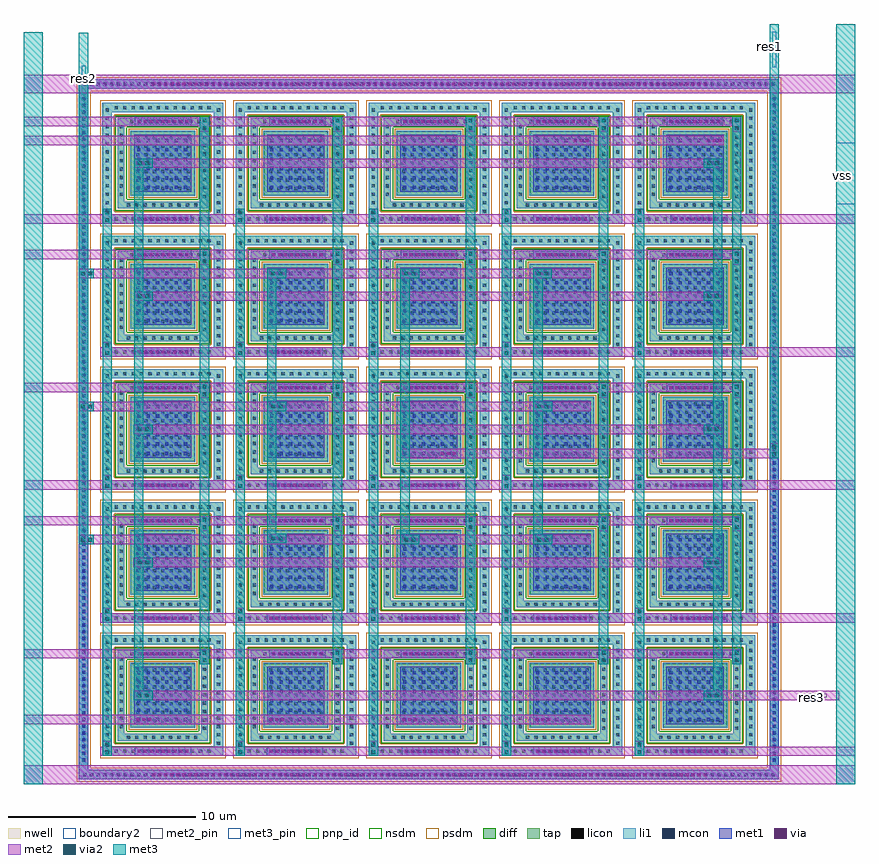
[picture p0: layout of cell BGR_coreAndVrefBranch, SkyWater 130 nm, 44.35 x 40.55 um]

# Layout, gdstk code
from math import pi, radians
import gdstk
lib = gdstk.Library(unit=1e-6, precision=5e-09)
def R(c, l, rs):  # rectangles x0, y0, x1, y1
    for r in rs: c.add(gdstk.rectangle(r[:2], r[2:], *l))
def A(c, l, x, y, w, h, nx, ny, dx, dy):  # array of equal rectangles
    R(c, l, [(x+i*dx, y+j*dy, x+i*dx+w, y+j*dy+h) for i in range(nx) for j in range(ny)])
def P(c, l, *ps):  # polygons
    for p in ps: c.add(gdstk.Polygon(p, *l))
nwell = (64, 20)
diff = (65, 20)
tap = (65, 44)
licon = (66, 44)
li1 = (67, 20)
mcon = (67, 44)
met1 = (68, 20)
via = (68, 44)
met2_pin = (69, 16)
met2 = (69, 20)
via2 = (69, 44)
met3_pin = (70, 16)
met3 = (70, 20)
pnp_id = (82, 44)
nsdm = (93, 44)
psdm = (94, 20)
boundary2 = (236, 0)

vias_gen = lib.new_cell('vias_gen')
R(vias_gen, met1, [(0,0,30,0.5)])
A(vias_gen, via, 0.205, 0.175, 0.15, 0.15, 93, 1, 0.32, 0)
R(vias_gen, met2, [(0,0,30,0.5)])

pnp_bjt = lib.new_cell('pnp_bjt')
R(pnp_bjt, nwell, [(0.765,0.765,5.935,5.935)])
R(pnp_bjt, diff, [(1.65,1.65,5.05,5.05)])
P(pnp_bjt, tap, [(0.945,0.945),(0.945,5.755),(5.395,5.755),(5.395,5.395),(1.305,5.395),(1.305,1.305),(5.395,1.305),(5.395,5.755),(5.755,5.755),(5.755,0.945)],
  [(0.13,0.13),(0.13,6.57),(6.065,6.57),(6.065,6.065),(0.635,6.065),(0.635,0.635),(6.065,0.635),(6.065,6.57),(6.57,6.57),(6.57,0.13)])
A(pnp_bjt, licon, 0.78, 0.29, 0.17, 0.17, 12, 2, 0.45, 5.935)
A(pnp_bjt, licon, 0.3, 0.71, 0.17, 0.17, 1, 13, 0, 0.45)
A(pnp_bjt, licon, 6.235, 0.71, 0.17, 0.17, 1, 13, 0, 0.45)
A(pnp_bjt, licon, 1.43, 1.04, 0.17, 0.17, 9, 1, 0.45, 0)
A(pnp_bjt, licon, 5.49, 1.51, 0.17, 0.17, 1, 9, 0, 0.45)
A(pnp_bjt, licon, 1.04, 1.605, 0.17, 0.17, 1, 9, 0, 0.45)
A(pnp_bjt, licon, 1.92, 1.92, 0.17, 0.17, 7, 7, 0.45, 0.45)
A(pnp_bjt, licon, 1.6, 5.49, 0.17, 0.17, 9, 1, 0.45, 0)
A(pnp_bjt, li1, 0.58, 0.21, 0.33, 0.33, 12, 1, 0.45, 0)
A(pnp_bjt, li1, 0.675, 0.24, 0.27, 0.27, 11, 2, 0.5, 5.96)
A(pnp_bjt, li1, 6.16, 0.54, 0.33, 0.33, 1, 13, 0, 0.45)
A(pnp_bjt, li1, 0.22, 0.63, 0.33, 0.33, 1, 13, 0, 0.45)
A(pnp_bjt, li1, 1.35, 0.96, 0.33, 0.33, 9, 1, 0.45, 0)
A(pnp_bjt, li1, 1.14, 0.985, 0.27, 0.27, 9, 1, 0.5, 0)
A(pnp_bjt, li1, 5.41, 1.43, 0.33, 0.33, 1, 9, 0, 0.45)
A(pnp_bjt, li1, 0.96, 1.525, 0.33, 0.33, 1, 9, 0, 0.45)
A(pnp_bjt, li1, 1.84, 1.84, 0.33, 0.33, 7, 7, 0.45, 0.45)
A(pnp_bjt, li1, 1.93, 1.93, 0.27, 0.27, 6, 6, 0.5, 0.5)
A(pnp_bjt, li1, 1.52, 5.41, 0.33, 0.33, 9, 1, 0.45, 0)
A(pnp_bjt, li1, 1.155, 5.44, 0.27, 0.27, 9, 1, 0.5, 0)
A(pnp_bjt, li1, 0.7, 6.165, 0.33, 0.33, 12, 1, 0.45, 0)
R(pnp_bjt, li1, [(1.615,1.615,5.085,5.085), (1.65,1.65,5.05,5.05)])
P(pnp_bjt, li1, [(0.13,0.13),(0.13,6.57),(6.075,6.57),(6.075,6.075),(0.625,6.075),(0.625,0.625),(6.075,0.625),(6.075,6.57),(6.57,6.57),(6.57,0.13)],
  [(0.945,0.945),(0.945,5.755),(5.395,5.755),(5.395,5.395),(1.305,5.395),(1.305,1.305),(5.395,1.305),(5.395,5.755),(5.755,5.755),(5.755,0.945)])
A(pnp_bjt, mcon, 1.98, 1.98, 0.17, 0.17, 6, 6, 0.5, 0.5)
A(pnp_bjt, met1, 1.93, 1.93, 0.27, 0.27, 6, 6, 0.5, 0.5)
R(pnp_bjt, met1, [(1.825,1.825,4.875,4.875)])
R(pnp_bjt, pnp_id, [(0.135,0.135,6.565,6.565)])
P(pnp_bjt, nsdm, [(0.805,0.805),(0.805,5.895),(5.265,5.895),(5.265,5.265),(1.435,5.265),(1.435,1.435),(5.265,1.435),(5.265,5.895),(5.895,5.895),(5.895,0.805)])
R(pnp_bjt, psdm, [(1.52,1.52,5.18,5.18)])
P(pnp_bjt, psdm, [(0,0),(0,6.7),(5.935,6.7),(5.935,5.935),(0.765,5.935),(0.765,0.765),(5.935,0.765),(5.935,6.7),(6.7,6.7),(6.7,0)])
R(pnp_bjt, boundary2, [(0.13,0.13,6.57,6.57)])
pnp_bjt.add(gdstk.Label('Emitter', (3.39,3.39), layer=67, texttype=5))
pnp_bjt.add(gdstk.Label('Collector', (3.32,6.38), layer=67, texttype=5))
pnp_bjt.add(gdstk.Label('Base', (3.245,5.61), layer=67, texttype=5))

guard_ring_gen = lib.new_cell('guard_ring_gen')
P(guard_ring_gen, tap, [(-0.5,-0.5),(-0.5,36.35),(0,36.35),(0,0),(36.35,0),(36.35,36.35),(-0.5,36.35),(-0.5,36.85),(36.85,36.85),(36.85,-0.5)])
A(guard_ring_gen, licon, -0.27, -0.335, 0.17, 0.17, 103, 2, 0.36, 36.85)
A(guard_ring_gen, licon, -0.335, 0.45, 0.17, 0.17, 1, 99, 0, 0.36)
A(guard_ring_gen, licon, 36.515, 0.45, 0.17, 0.17, 1, 99, 0, 0.36)
P(guard_ring_gen, li1, [(-0.5,-0.5),(-0.5,36.35),(0,36.35),(0,0),(36.35,0),(36.35,36.35),(-0.5,36.35),(-0.5,36.85),(36.85,36.85),(36.85,-0.5)])
A(guard_ring_gen, mcon, -0.27, -0.335, 0.17, 0.17, 103, 2, 0.36, 36.85)
A(guard_ring_gen, mcon, -0.335, 0.45, 0.17, 0.17, 1, 99, 0, 0.36)
A(guard_ring_gen, mcon, 36.515, 0.45, 0.17, 0.17, 1, 99, 0, 0.36)
P(guard_ring_gen, met1, [(-0.5,-0.5),(-0.5,36.35),(0,36.35),(0,0),(36.35,0),(36.35,36.35),(-0.5,36.35),(-0.5,36.85),(36.85,36.85),(36.85,-0.5)])
P(guard_ring_gen, psdm, [(-0.625,-0.625),(-0.625,36.225),(0.125,36.225),(0.125,0.125),(36.225,0.125),(36.225,36.225),(-0.625,36.225),(-0.625,36.975),(36.975,36.975),(36.975,-0.625)])

vias_gen_10 = lib.new_cell('vias_gen$10')
R(vias_gen_10, li1, [(0,0,3,0.5)])
A(vias_gen_10, mcon, 0.155, 0.165, 0.17, 0.17, 8, 1, 0.36, 0)
R(vias_gen_10, met1, [(0,0,3,0.5)])
A(vias_gen_10, via, 0.145, 0.175, 0.15, 0.15, 9, 1, 0.32, 0)
R(vias_gen_10, met2, [(0,0,3,0.5)])

vias_gen_8 = lib.new_cell('vias_gen$8')
R(vias_gen_8, met1, [(0,0,1,0.5)])
A(vias_gen_8, via, 0.105, 0.175, 0.15, 0.15, 3, 1, 0.32, 0)
R(vias_gen_8, met2, [(0,0,1,0.5)])
R(vias_gen_8, via2, [(0.2,0.15,0.4,0.35), (0.6,0.15,0.8,0.35)])
R(vias_gen_8, met3, [(0,0,1,0.5)])

vias_gen_6 = lib.new_cell('vias_gen$6')
R(vias_gen_6, met2, [(0,0,0.8,0.5)])
R(vias_gen_6, via2, [(0.1,0.15,0.3,0.35), (0.5,0.15,0.7,0.35)])
R(vias_gen_6, met3, [(0,0,0.8,0.5)])

vias_gen_1 = lib.new_cell('vias_gen$1')
R(vias_gen_1, met1, [(0,0,1,0.5)])
A(vias_gen_1, via, 0.105, 0.175, 0.15, 0.15, 3, 1, 0.32, 0)
R(vias_gen_1, met2, [(0,0,1,0.5)])

vias_gen_9 = lib.new_cell('vias_gen$9')
R(vias_gen_9, met2, [(0,0,1,0.5)])
R(vias_gen_9, via2, [(0.2,0.15,0.4,0.35), (0.6,0.15,0.8,0.35)])
R(vias_gen_9, met3, [(0,0,1,0.5)])

bgr_coreandvrefbranch = lib.new_cell('BGR_coreAndVrefBranch')
R(bgr_coreandvrefbranch, met3_pin, [(43.35,30.94,44.35,34.22)])
bgr_coreandvrefbranch.add(gdstk.FlexPath([(44.35,37.35),(0,37.35)], 1, ends="flush", simple_path=True, layer=69, datatype=20))  # met2
bgr_coreandvrefbranch.add(gdstk.FlexPath([(0,30.15),(44.35,30.15)], 0.5, ends="flush", simple_path=True, layer=69, datatype=20))  # met2
bgr_coreandvrefbranch.add(gdstk.FlexPath([(0,15.95),(44.35,15.95)], 0.5, ends="flush", simple_path=True, layer=69, datatype=20))  # met2
bgr_coreandvrefbranch.add(gdstk.FlexPath([(4.06,23.05),(44.35,23.05)], 0.5, ends="flush", simple_path=True, layer=69, datatype=20))  # met2
bgr_coreandvrefbranch.add(gdstk.FlexPath([(4.06,8.85),(44.35,8.85)], 0.5, ends="flush", simple_path=True, layer=69, datatype=20))  # met2
bgr_coreandvrefbranch.add(gdstk.FlexPath([(4.06,1.75),(44.35,1.75)], 0.5, ends="flush", simple_path=True, layer=69, datatype=20))  # met2
bgr_coreandvrefbranch.add(gdstk.FlexPath([(44.35,0.5),(0,0.5)], 1, ends="flush", simple_path=True, layer=69, datatype=20))  # met2
bgr_coreandvrefbranch.add(gdstk.FlexPath([(0,6.95),(38.215,6.95)], 0.5, ends="flush", simple_path=True, layer=69, datatype=20))  # met2
bgr_coreandvrefbranch.add(gdstk.FlexPath([(0,14.05),(38.215,14.05)], 0.5, ends="flush", simple_path=True, layer=69, datatype=20))  # met2
bgr_coreandvrefbranch.add(gdstk.FlexPath([(0,21.15),(38.215,21.15)], 0.5, ends="flush", simple_path=True, layer=69, datatype=20))  # met2
bgr_coreandvrefbranch.add(gdstk.FlexPath([(0,28.25),(38.215,28.25)], 0.5, ends="flush", simple_path=True, layer=69, datatype=20))  # met2
bgr_coreandvrefbranch.add(gdstk.FlexPath([(0,35.35),(38.215,35.35)], 0.5, ends="flush", simple_path=True, layer=69, datatype=20))  # met2
bgr_coreandvrefbranch.add(gdstk.FlexPath([(30.235,3.44),(0,3.44)], 0.5, ends="flush", simple_path=True, layer=69, datatype=20))  # met2
bgr_coreandvrefbranch.add(gdstk.FlexPath([(0,34.34),(37.335,34.34)], 0.5, ends="flush", simple_path=True, layer=69, datatype=20))  # met2
bgr_coreandvrefbranch.add(gdstk.FlexPath([(43.515,4.725),(5.87,4.725)], 0.5, ends="flush", simple_path=True, layer=69, datatype=20))  # met2
bgr_coreandvrefbranch.add(gdstk.FlexPath([(30.235,13.04),(2.935,13.04)], 0.5, ends="flush", simple_path=True, layer=69, datatype=20))  # met2
bgr_coreandvrefbranch.add(gdstk.FlexPath([(30.235,20.14),(2.935,20.14)], 0.5, ends="flush", simple_path=True, layer=69, datatype=20))  # met2
bgr_coreandvrefbranch.add(gdstk.FlexPath([(30.235,27.24),(2.935,27.24)], 0.5, ends="flush", simple_path=True, layer=69, datatype=20))  # met2
bgr_coreandvrefbranch.add(gdstk.FlexPath([(40.285,17.64),(20.19,17.64)], 0.5, ends="flush", simple_path=True, layer=69, datatype=20))  # met2
bgr_coreandvrefbranch.add(gdstk.FlexPath([(37.27,33.125),(5.885,33.125)], 0.5, ends="flush", simple_path=True, layer=69, datatype=20))  # met2
bgr_coreandvrefbranch.add(gdstk.FlexPath([(37.27,11.825),(5.87,11.825)], 0.5, ends="flush", simple_path=True, layer=69, datatype=20))  # met2
bgr_coreandvrefbranch.add(gdstk.FlexPath([(37.27,18.925),(5.87,18.925)], 0.5, ends="flush", simple_path=True, layer=69, datatype=20))  # met2
bgr_coreandvrefbranch.add(gdstk.FlexPath([(37.275,26.025),(5.875,26.025)], 0.5, ends="flush", simple_path=True, layer=69, datatype=20))  # met2
bgr_coreandvrefbranch.add(gdstk.FlexPath([(28.175,20.14),(12.985,20.14)], 0.5, ends="flush", simple_path=True, layer=69, datatype=20))  # met2
bgr_coreandvrefbranch.add(gdstk.FlexPath([(28.175,13.04),(12.985,13.04)], 0.5, ends="flush", simple_path=True, layer=69, datatype=20))  # met2
bgr_coreandvrefbranch.add(gdstk.FlexPath([(40.035,40.555),(40.035,17.39)], 0.5, ends="flush", simple_path=True, layer=70, datatype=20))  # met3
bgr_coreandvrefbranch.add(gdstk.FlexPath([(43.85,40.555),(43.85,0)], 1, ends="flush", simple_path=True, layer=70, datatype=20))  # met3
bgr_coreandvrefbranch.add(gdstk.FlexPath([(0.5,40.12),(0.5,0)], 1, ends="flush", simple_path=True, layer=70, datatype=20))  # met3
bgr_coreandvrefbranch.add(gdstk.FlexPath([(3.185,40.08),(3.185,12.79)], 0.5, ends="flush", simple_path=True, layer=70, datatype=20))  # met3
bgr_coreandvrefbranch.add(gdstk.FlexPath([(32.845,30.7),(32.845,1.5)], 0.5, ends="flush", simple_path=True, layer=70, datatype=20))  # met3
bgr_coreandvrefbranch.add(gdstk.FlexPath([(25.745,30.7),(25.745,1.5)], 0.5, ends="flush", simple_path=True, layer=70, datatype=20))  # met3
bgr_coreandvrefbranch.add(gdstk.FlexPath([(18.645,30.7),(18.645,1.5)], 0.5, ends="flush", simple_path=True, layer=70, datatype=20))  # met3
bgr_coreandvrefbranch.add(gdstk.FlexPath([(11.545,30.7),(11.545,1.5)], 0.5, ends="flush", simple_path=True, layer=70, datatype=20))  # met3
bgr_coreandvrefbranch.add(gdstk.FlexPath([(4.445,30.7),(4.445,1.5)], 0.5, ends="flush", simple_path=True, layer=70, datatype=20))  # met3
bgr_coreandvrefbranch.add(gdstk.FlexPath([(38.035,35.6),(38.035,6.4)], 0.5, ends="flush", simple_path=True, layer=70, datatype=20))  # met3
bgr_coreandvrefbranch.add(gdstk.FlexPath([(30.935,35.6),(30.935,6.4)], 0.5, ends="flush", simple_path=True, layer=70, datatype=20))  # met3
bgr_coreandvrefbranch.add(gdstk.FlexPath([(23.835,35.6),(23.835,6.4)], 0.5, ends="flush", simple_path=True, layer=70, datatype=20))  # met3
bgr_coreandvrefbranch.add(gdstk.FlexPath([(16.735,35.6),(16.735,6.4)], 0.5, ends="flush", simple_path=True, layer=70, datatype=20))  # met3
bgr_coreandvrefbranch.add(gdstk.FlexPath([(9.635,35.6),(9.635,6.4)], 0.5, ends="flush", simple_path=True, layer=70, datatype=20))  # met3
bgr_coreandvrefbranch.add(gdstk.FlexPath([(37.025,33.375),(37.025,4.475)], 0.5, ends="flush", simple_path=True, layer=70, datatype=20))  # met3
bgr_coreandvrefbranch.add(gdstk.FlexPath([(6.125,33.375),(6.125,4.475)], 0.5, ends="flush", simple_path=True, layer=70, datatype=20))  # met3
bgr_coreandvrefbranch.add(gdstk.FlexPath([(20.325,27.49),(20.325,12.79)], 0.5, ends="flush", simple_path=True, layer=70, datatype=20))  # met3
bgr_coreandvrefbranch.add(gdstk.FlexPath([(27.425,27.49),(27.425,12.79)], 0.5, ends="flush", simple_path=True, layer=70, datatype=20))  # met3
bgr_coreandvrefbranch.add(gdstk.FlexPath([(13.225,27.49),(13.225,12.85)], 0.5, ends="flush", simple_path=True, layer=70, datatype=20))  # met3
bgr_coreandvrefbranch.add(gdstk.FlexPath([(3.185,38.32),(3.185,36.78)], 0.2, ends="flush", simple_path=True, layer=70, datatype=16))  # met3_pin
bgr_coreandvrefbranch.add(gdstk.FlexPath([(40.035,40.15),(40.035,38.24),(40.035,38.24)], 0.2, ends="flush", simple_path=True, layer=70, datatype=16))  # met3_pin
bgr_coreandvrefbranch.add(gdstk.FlexPath([(42.84,4.725),(41.375,4.725),(41.375,4.61)], 0.2, ends="flush", simple_path=True, layer=69, datatype=16))  # met2_pin
bgr_coreandvrefbranch.add(gdstk.Reference(vias_gen, (6.64,0.25)))
bgr_coreandvrefbranch.add(gdstk.Reference(vias_gen, (6.64,37.1)))
bgr_coreandvrefbranch.add(gdstk.Reference(pnp_bjt, (25.36,15.575)))
bgr_coreandvrefbranch.add(gdstk.Reference(guard_ring_gen, (3.435,0.75)))
bgr_coreandvrefbranch.add(gdstk.Reference(pnp_bjt, (11.16,15.575)))
bgr_coreandvrefbranch.add(gdstk.Reference(vias_gen_10, (20.165,22.8)))
bgr_coreandvrefbranch.add(gdstk.Reference(pnp_bjt, (18.26,22.675)))
bgr_coreandvrefbranch.add(gdstk.Reference(vias_gen_10, (20.1,28)))
bgr_coreandvrefbranch.add(gdstk.Reference(pnp_bjt, (18.26,29.775)))
bgr_coreandvrefbranch.add(gdstk.Reference(vias_gen_10, (20.165,29.9)))
bgr_coreandvrefbranch.add(gdstk.Reference(vias_gen_10, (20.1,35.1)))
bgr_coreandvrefbranch.add(gdstk.Reference(vias_gen_8, (5.87,18.675)))
bgr_coreandvrefbranch.add(gdstk.Reference(pnp_bjt, (4.06,15.575)))
bgr_coreandvrefbranch.add(gdstk.Reference(vias_gen_10, (20.165,15.7)))
bgr_coreandvrefbranch.add(gdstk.Reference(pnp_bjt, (18.26,1.375)))
bgr_coreandvrefbranch.add(gdstk.Reference(pnp_bjt, (18.26,15.575)))
bgr_coreandvrefbranch.add(gdstk.Reference(vias_gen_10, (20.1,20.9)))
bgr_coreandvrefbranch.add(gdstk.Reference(vias_gen_10, (20.1,6.7)))
bgr_coreandvrefbranch.add(gdstk.Reference(vias_gen_10, (20.165,1.5)))
bgr_coreandvrefbranch.add(gdstk.Reference(pnp_bjt, (18.26,8.475)))
bgr_coreandvrefbranch.add(gdstk.Reference(vias_gen_10, (20.1,13.8)))
bgr_coreandvrefbranch.add(gdstk.Reference(vias_gen_10, (20.165,8.6)))
bgr_coreandvrefbranch.add(gdstk.Reference(pnp_bjt, (32.46,15.575)))
bgr_coreandvrefbranch.add(gdstk.Reference(vias_gen_8, (36.275,18.675)))
bgr_coreandvrefbranch.add(gdstk.Reference(vias_gen_10, (27.19,35.1)))
bgr_coreandvrefbranch.add(gdstk.Reference(vias_gen_10, (27.19,28)))
bgr_coreandvrefbranch.add(gdstk.Reference(vias_gen_10, (27.19,20.9)))
bgr_coreandvrefbranch.add(gdstk.Reference(vias_gen_8, (27.185,19.89)))
bgr_coreandvrefbranch.add(gdstk.Reference(vias_gen_6, (25.495,22.8), rotation=pi/2, x_reflection=True))
bgr_coreandvrefbranch.add(gdstk.Reference(pnp_bjt, (25.36,22.675)))
bgr_coreandvrefbranch.add(gdstk.Reference(vias_gen_8, (27.175,26.99)))
bgr_coreandvrefbranch.add(gdstk.Reference(vias_gen_6, (25.495,29.9), rotation=pi/2, x_reflection=True))
bgr_coreandvrefbranch.add(gdstk.Reference(vias_gen_6, (23.585,20.6), rotation=pi/2, x_reflection=True))
bgr_coreandvrefbranch.add(gdstk.Reference(vias_gen_10, (27.185,22.8)))
bgr_coreandvrefbranch.add(gdstk.Reference(pnp_bjt, (25.36,29.775)))
bgr_coreandvrefbranch.add(gdstk.Reference(vias_gen_10, (27.185,29.9)))
bgr_coreandvrefbranch.add(gdstk.Reference(vias_gen_1, (22.135,34.09)))
bgr_coreandvrefbranch.add(gdstk.Reference(vias_gen_10, (34.525,22.8)))
bgr_coreandvrefbranch.add(gdstk.Reference(vias_gen_6, (32.595,22.8), rotation=pi/2, x_reflection=True))
bgr_coreandvrefbranch.add(gdstk.Reference(pnp_bjt, (32.46,22.675)))
bgr_coreandvrefbranch.add(gdstk.Reference(pnp_bjt, (32.46,29.775)))
bgr_coreandvrefbranch.add(gdstk.Reference(vias_gen_8, (36.275,25.775)))
bgr_coreandvrefbranch.add(gdstk.Reference(vias_gen_6, (30.685,34.8), rotation=pi/2, x_reflection=True))
bgr_coreandvrefbranch.add(gdstk.Reference(vias_gen_6, (32.595,29.9), rotation=pi/2, x_reflection=True))
bgr_coreandvrefbranch.add(gdstk.Reference(vias_gen_10, (34.3,35.1)))
bgr_coreandvrefbranch.add(gdstk.Reference(vias_gen_1, (29.235,34.09)))
bgr_coreandvrefbranch.add(gdstk.Reference(vias_gen_1, (36.33,34.09)))
bgr_coreandvrefbranch.add(gdstk.Reference(vias_gen_10, (34.3,28)))
bgr_coreandvrefbranch.add(gdstk.Reference(vias_gen_6, (37.785,27.7), rotation=pi/2, x_reflection=True))
bgr_coreandvrefbranch.add(gdstk.Reference(vias_gen_10, (34.525,29.9)))
bgr_coreandvrefbranch.add(gdstk.Reference(vias_gen_6, (37.785,34.8), rotation=pi/2, x_reflection=True))
bgr_coreandvrefbranch.add(gdstk.Reference(vias_gen_6, (30.685,27.7), rotation=pi/2, x_reflection=True))
bgr_coreandvrefbranch.add(gdstk.Reference(vias_gen_9, (36.275,32.875)))
bgr_coreandvrefbranch.add(gdstk.Reference(vias_gen_6, (37.785,20.6), rotation=pi/2, x_reflection=True))
bgr_coreandvrefbranch.add(gdstk.Reference(vias_gen_6, (30.685,20.6), rotation=pi/2, x_reflection=True))
bgr_coreandvrefbranch.add(gdstk.Reference(vias_gen_6, (23.585,27.7), rotation=pi/2, x_reflection=True))
bgr_coreandvrefbranch.add(gdstk.Reference(vias_gen_10, (34.3,20.9)))
bgr_coreandvrefbranch.add(gdstk.Reference(vias_gen_6, (23.585,34.8), rotation=pi/2, x_reflection=True))
bgr_coreandvrefbranch.add(gdstk.Reference(vias_gen_6, (11.295,22.8), rotation=pi/2, x_reflection=True))
bgr_coreandvrefbranch.add(gdstk.Reference(vias_gen_6, (4.195,22.8), rotation=pi/2, x_reflection=True))
bgr_coreandvrefbranch.add(gdstk.Reference(vias_gen_6, (18.395,29.9), rotation=pi/2, x_reflection=True))
bgr_coreandvrefbranch.add(gdstk.Reference(vias_gen_10, (12.955,29.9)))
bgr_coreandvrefbranch.add(gdstk.Reference(vias_gen_8, (20.085,26.99)))
bgr_coreandvrefbranch.add(gdstk.Reference(pnp_bjt, (11.16,29.775)))
bgr_coreandvrefbranch.add(gdstk.Reference(pnp_bjt, (4.06,22.675)))
bgr_coreandvrefbranch.add(gdstk.Reference(vias_gen_10, (13.095,35.1)))
bgr_coreandvrefbranch.add(gdstk.Reference(vias_gen_6, (16.485,20.6), rotation=pi/2, x_reflection=True))
bgr_coreandvrefbranch.add(gdstk.Reference(vias_gen_10, (13.095,28)))
bgr_coreandvrefbranch.add(gdstk.Reference(vias_gen_10, (13.095,20.9)))
bgr_coreandvrefbranch.add(gdstk.Reference(vias_gen_1, (15.035,34.09)))
bgr_coreandvrefbranch.add(gdstk.Reference(vias_gen_10, (12.955,22.8)))
bgr_coreandvrefbranch.add(gdstk.Reference(pnp_bjt, (11.16,22.675)))
bgr_coreandvrefbranch.add(gdstk.Reference(vias_gen_10, (5.92,22.8)))
bgr_coreandvrefbranch.add(gdstk.Reference(vias_gen_6, (16.485,27.7), rotation=pi/2, x_reflection=True))
bgr_coreandvrefbranch.add(gdstk.Reference(vias_gen_6, (16.485,34.8), rotation=pi/2, x_reflection=True))
bgr_coreandvrefbranch.add(gdstk.Reference(vias_gen_8, (5.875,25.775)))
bgr_coreandvrefbranch.add(gdstk.Reference(vias_gen_8, (5.875,32.875)))
bgr_coreandvrefbranch.add(gdstk.Reference(vias_gen_6, (11.295,29.9), rotation=pi/2, x_reflection=True))
bgr_coreandvrefbranch.add(gdstk.Reference(vias_gen_10, (5.92,29.9)))
bgr_coreandvrefbranch.add(gdstk.Reference(vias_gen_6, (9.385,27.7), rotation=pi/2, x_reflection=True))
bgr_coreandvrefbranch.add(gdstk.Reference(vias_gen_6, (9.385,34.8), rotation=pi/2, x_reflection=True))
bgr_coreandvrefbranch.add(gdstk.Reference(vias_gen_10, (5.92,35.1)))
bgr_coreandvrefbranch.add(gdstk.Reference(vias_gen_8, (12.985,26.99)))
bgr_coreandvrefbranch.add(gdstk.Reference(vias_gen_6, (4.195,29.9), rotation=pi/2, x_reflection=True))
bgr_coreandvrefbranch.add(gdstk.Reference(vias_gen_6, (2.935,26.99)))
bgr_coreandvrefbranch.add(gdstk.Reference(pnp_bjt, (4.06,29.775)))
bgr_coreandvrefbranch.add(gdstk.Reference(vias_gen_10, (5.92,28)))
bgr_coreandvrefbranch.add(gdstk.Reference(vias_gen_6, (9.385,20.6), rotation=pi/2, x_reflection=True))
bgr_coreandvrefbranch.add(gdstk.Reference(vias_gen_8, (12.985,19.89)))
bgr_coreandvrefbranch.add(gdstk.Reference(vias_gen_6, (2.935,19.89)))
bgr_coreandvrefbranch.add(gdstk.Reference(vias_gen_6, (18.395,22.8), rotation=pi/2, x_reflection=True))
bgr_coreandvrefbranch.add(gdstk.Reference(vias_gen_10, (5.92,20.9)))
bgr_coreandvrefbranch.add(gdstk.Reference(vias_gen_6, (18.395,1.5), rotation=pi/2, x_reflection=True))
bgr_coreandvrefbranch.add(gdstk.Reference(vias_gen_6, (4.195,15.7), rotation=pi/2, x_reflection=True))
bgr_coreandvrefbranch.add(gdstk.Reference(pnp_bjt, (4.06,1.375)))
bgr_coreandvrefbranch.add(gdstk.Reference(vias_gen_6, (18.395,8.6), rotation=pi/2, x_reflection=True))
bgr_coreandvrefbranch.add(gdstk.Reference(vias_gen_6, (9.385,13.5), rotation=pi/2, x_reflection=True))
bgr_coreandvrefbranch.add(gdstk.Reference(vias_gen_1, (21.085,3.69), rotation=pi))
bgr_coreandvrefbranch.add(gdstk.Reference(vias_gen_6, (16.485,6.4), rotation=pi/2, x_reflection=True))
bgr_coreandvrefbranch.add(gdstk.Reference(vias_gen_6, (16.485,13.5), rotation=pi/2, x_reflection=True))
bgr_coreandvrefbranch.add(gdstk.Reference(vias_gen_10, (12.955,1.5)))
bgr_coreandvrefbranch.add(gdstk.Reference(vias_gen_10, (12.955,8.6)))
bgr_coreandvrefbranch.add(gdstk.Reference(vias_gen_6, (18.395,15.7), rotation=pi/2, x_reflection=True))
bgr_coreandvrefbranch.add(gdstk.Reference(vias_gen_10, (13.095,13.8)))
bgr_coreandvrefbranch.add(gdstk.Reference(vias_gen_6, (2.935,12.79)))
bgr_coreandvrefbranch.add(gdstk.Reference(vias_gen_6, (4.195,1.5), rotation=pi/2, x_reflection=True))
bgr_coreandvrefbranch.add(gdstk.Reference(vias_gen_8, (12.985,12.85)))
bgr_coreandvrefbranch.add(gdstk.Reference(vias_gen_10, (5.92,1.5)))
bgr_coreandvrefbranch.add(gdstk.Reference(pnp_bjt, (11.16,1.375)))
bgr_coreandvrefbranch.add(gdstk.Reference(vias_gen_6, (11.295,1.5), rotation=pi/2, x_reflection=True))
bgr_coreandvrefbranch.add(gdstk.Reference(vias_gen_10, (5.92,8.6)))
bgr_coreandvrefbranch.add(gdstk.Reference(pnp_bjt, (4.06,8.475)))
bgr_coreandvrefbranch.add(gdstk.Reference(vias_gen_10, (13.095,6.7)))
bgr_coreandvrefbranch.add(gdstk.Reference(vias_gen_10, (5.92,15.7)))
bgr_coreandvrefbranch.add(gdstk.Reference(vias_gen_6, (11.295,8.6), rotation=pi/2, x_reflection=True))
bgr_coreandvrefbranch.add(gdstk.Reference(vias_gen_10, (12.955,15.7)))
bgr_coreandvrefbranch.add(gdstk.Reference(vias_gen_6, (11.295,15.7), rotation=pi/2, x_reflection=True))
bgr_coreandvrefbranch.add(gdstk.Reference(vias_gen_10, (5.92,13.8)))
bgr_coreandvrefbranch.add(gdstk.Reference(vias_gen_9, (5.87,4.475)))
bgr_coreandvrefbranch.add(gdstk.Reference(vias_gen_8, (5.875,11.575)))
bgr_coreandvrefbranch.add(gdstk.Reference(vias_gen_10, (5.92,6.7)))
bgr_coreandvrefbranch.add(gdstk.Reference(vias_gen_6, (4.195,8.6), rotation=pi/2, x_reflection=True))
bgr_coreandvrefbranch.add(gdstk.Reference(pnp_bjt, (11.16,8.475)))
bgr_coreandvrefbranch.add(gdstk.Reference(vias_gen_8, (20.085,12.79)))
bgr_coreandvrefbranch.add(gdstk.Reference(vias_gen_1, (13.985,3.69), rotation=pi))
bgr_coreandvrefbranch.add(gdstk.Reference(vias_gen_1, (6.89,3.69), rotation=pi))
bgr_coreandvrefbranch.add(gdstk.Reference(vias_gen_6, (9.385,6.4), rotation=pi/2, x_reflection=True))
bgr_coreandvrefbranch.add(gdstk.Reference(vias_gen_10, (27.185,1.5)))
bgr_coreandvrefbranch.add(gdstk.Reference(vias_gen_1, (22.135,17.39)))
bgr_coreandvrefbranch.add(gdstk.Reference(vias_gen_10, (27.185,8.6)))
bgr_coreandvrefbranch.add(gdstk.Reference(pnp_bjt, (25.36,1.375)))
bgr_coreandvrefbranch.add(gdstk.Reference(vias_gen_10, (27.19,6.7)))
bgr_coreandvrefbranch.add(gdstk.Reference(pnp_bjt, (25.36,8.475)))
bgr_coreandvrefbranch.add(gdstk.Reference(vias_gen_10, (27.19,13.8)))
bgr_coreandvrefbranch.add(gdstk.Reference(vias_gen_8, (27.185,12.79)))
bgr_coreandvrefbranch.add(gdstk.Reference(vias_gen_10, (27.185,15.7)))
bgr_coreandvrefbranch.add(gdstk.Reference(vias_gen_6, (25.495,1.5), rotation=pi/2, x_reflection=True))
bgr_coreandvrefbranch.add(gdstk.Reference(vias_gen_6, (25.495,8.6), rotation=pi/2, x_reflection=True))
bgr_coreandvrefbranch.add(gdstk.Reference(vias_gen_10, (34.525,8.6)))
bgr_coreandvrefbranch.add(gdstk.Reference(vias_gen_10, (34.3,13.8)))
bgr_coreandvrefbranch.add(gdstk.Reference(vias_gen_6, (23.585,6.4), rotation=pi/2, x_reflection=True))
bgr_coreandvrefbranch.add(gdstk.Reference(vias_gen_6, (39.785,17.39), rotation=pi/2, x_reflection=True))
bgr_coreandvrefbranch.add(gdstk.Reference(vias_gen_10, (34.525,15.7)))
bgr_coreandvrefbranch.add(gdstk.Reference(vias_gen_6, (23.585,13.5), rotation=pi/2, x_reflection=True))
bgr_coreandvrefbranch.add(gdstk.Reference(pnp_bjt, (32.46,8.475)))
bgr_coreandvrefbranch.add(gdstk.Reference(vias_gen_6, (37.785,6.4), rotation=pi/2, x_reflection=True))
bgr_coreandvrefbranch.add(gdstk.Reference(vias_gen_6, (25.495,15.7), rotation=pi/2, x_reflection=True))
bgr_coreandvrefbranch.add(gdstk.Reference(vias_gen_6, (30.685,6.4), rotation=pi/2, x_reflection=True))
bgr_coreandvrefbranch.add(gdstk.Reference(vias_gen_10, (34.3,6.7)))
bgr_coreandvrefbranch.add(gdstk.Reference(vias_gen_6, (32.595,1.5), rotation=pi/2, x_reflection=True))
bgr_coreandvrefbranch.add(gdstk.Reference(vias_gen_6, (32.595,8.6), rotation=pi/2, x_reflection=True))
bgr_coreandvrefbranch.add(gdstk.Reference(vias_gen_8, (36.275,4.475)))
bgr_coreandvrefbranch.add(gdstk.Reference(vias_gen_8, (36.275,11.575)))
bgr_coreandvrefbranch.add(gdstk.Reference(vias_gen_10, (34.525,1.5)))
bgr_coreandvrefbranch.add(gdstk.Reference(vias_gen_1, (28.185,3.69), rotation=pi))
bgr_coreandvrefbranch.add(gdstk.Reference(vias_gen_6, (32.595,15.7), rotation=pi/2, x_reflection=True))
bgr_coreandvrefbranch.add(gdstk.Reference(vias_gen_6, (30.685,13.5), rotation=pi/2, x_reflection=True))
bgr_coreandvrefbranch.add(gdstk.Reference(pnp_bjt, (32.46,1.375)))
bgr_coreandvrefbranch.add(gdstk.Reference(vias_gen_6, (37.785,13.5), rotation=pi/2, x_reflection=True))
bgr_coreandvrefbranch.add(gdstk.Label('vss', (43.665,32.48), layer=70, texttype=16))
bgr_coreandvrefbranch.add(gdstk.Label('res2', (3.185,37.67), layer=70, texttype=16))
bgr_coreandvrefbranch.add(gdstk.Label('res1', (39.785,39.36), layer=70, texttype=16))
bgr_coreandvrefbranch.add(gdstk.Label('res3', (42.04,4.625), layer=69, texttype=16))

lib.write_gds('BGR_coreAndVrefBranch.gds')
